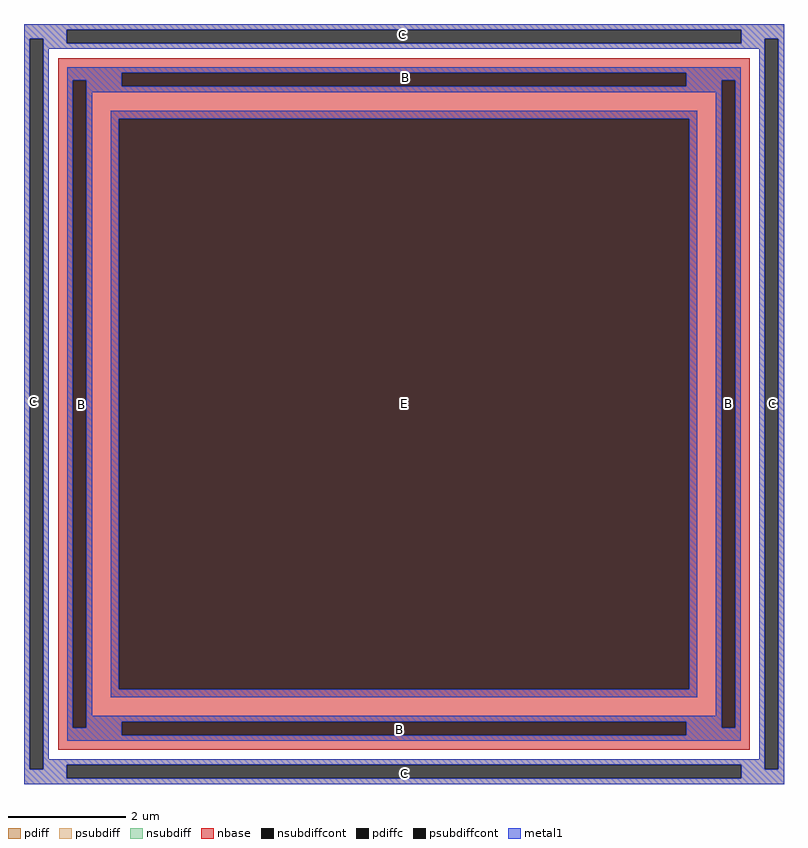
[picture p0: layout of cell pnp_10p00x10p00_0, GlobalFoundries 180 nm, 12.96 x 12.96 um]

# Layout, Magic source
magic
tech gf180mcuD
magscale 1 10
<< nbase >>
rect -1180 -1180 1180 1180
<< pdiff >>
rect -1000 973 1000 1000
rect -1000 -973 -973 973
rect 973 -973 1000 973
rect -1000 -1000 1000 -973
<< pdiffc >>
rect -973 -973 973 973
<< psubdiff >>
rect -1296 1277 1296 1296
rect -1296 1245 -1151 1277
rect -1296 -1245 -1277 1245
rect -1231 1231 -1151 1245
rect 1151 1245 1296 1277
rect 1151 1231 1231 1245
rect -1231 1212 1231 1231
rect -1231 -1212 -1212 1212
rect 1212 -1212 1231 1212
rect -1231 -1231 1231 -1212
rect -1231 -1245 -1151 -1231
rect -1296 -1277 -1151 -1245
rect 1151 -1245 1231 -1231
rect 1277 -1245 1296 1245
rect 1151 -1277 1296 -1245
rect -1296 -1296 1296 -1277
<< nsubdiff >>
rect -1148 1129 1148 1148
rect -1148 1104 -963 1129
rect -1148 -1104 -1129 1104
rect -1083 1083 -963 1104
rect 963 1104 1148 1129
rect 963 1083 1083 1104
rect -1083 1064 1083 1083
rect -1083 -1064 -1064 1064
rect 1064 -1064 1083 1064
rect -1083 -1083 1083 -1064
rect -1083 -1104 -963 -1083
rect -1148 -1129 -963 -1104
rect 963 -1104 1083 -1083
rect 1129 -1104 1148 1104
rect 963 -1129 1148 -1104
rect -1148 -1148 1148 -1129
<< psubdiffcont >>
rect -1277 -1245 -1231 1245
rect -1151 1231 1151 1277
rect -1151 -1277 1151 -1231
rect 1231 -1245 1277 1245
<< nsubdiffcont >>
rect -1129 -1104 -1083 1104
rect -963 1083 963 1129
rect -963 -1129 963 -1083
rect 1083 -1104 1129 1104
<< metal1 >>
rect -1296 1277 1296 1296
rect -1296 1245 -1151 1277
rect -1296 -1245 -1277 1245
rect -1231 1231 -1151 1245
rect 1151 1245 1296 1277
rect 1151 1231 1231 1245
rect -1231 1212 1231 1231
rect -1231 -1212 -1212 1212
rect -1148 1129 1148 1148
rect -1148 1104 -963 1129
rect -1148 -1104 -1129 1104
rect -1083 1083 -963 1104
rect 963 1104 1148 1129
rect 963 1083 1083 1104
rect -1083 1064 1083 1083
rect -1083 -1064 -1064 1064
rect -1000 973 1000 1000
rect -1000 -973 -973 973
rect 973 -973 1000 973
rect -1000 -1000 1000 -973
rect 1064 -1064 1083 1064
rect -1083 -1083 1083 -1064
rect -1083 -1104 -963 -1083
rect -1148 -1129 -963 -1104
rect 963 -1104 1083 -1083
rect 1129 -1104 1148 1104
rect 963 -1129 1148 -1104
rect -1148 -1148 1148 -1129
rect 1212 -1212 1231 1212
rect -1231 -1231 1231 -1212
rect -1231 -1245 -1151 -1231
rect -1296 -1277 -1151 -1245
rect 1151 -1245 1231 -1231
rect 1277 -1245 1296 1245
rect 1151 -1277 1296 -1245
rect -1296 -1296 1296 -1277
<< labels >>
flabel pdiffc 0 2 0 2 0 FreeSans 400 0 0 0 E
flabel nsubdiffcont 5 1113 5 1113 0 FreeSans 400 0 0 0 B
flabel nsubdiffcont 1106 2 1106 2 0 FreeSans 400 0 0 0 B
flabel nsubdiffcont -15 -1109 -15 -1109 0 FreeSans 400 0 0 0 B
flabel nsubdiffcont -1101 -2 -1101 -2 0 FreeSans 400 0 0 0 B
flabel psubdiffcont -5 1260 -5 1260 0 FreeSans 400 0 0 0 C
flabel psubdiffcont 1258 2 1258 2 0 FreeSans 400 0 0 0 C
flabel psubdiffcont 0 -1260 0 -1260 0 FreeSans 400 0 0 0 C
flabel psubdiffcont -1263 7 -1263 7 0 FreeSans 400 0 0 0 C
<< properties >>
string GDS_END 40322
string GDS_FILE $PDKPATH/libs.ref/gf180mcu_fd_pr/gds/pnp_10p00x10p00.gds
string GDS_START 112
string gencell pnp_10p00x10p00
string library gf180mcu
string parameter m=1
<< end >>
